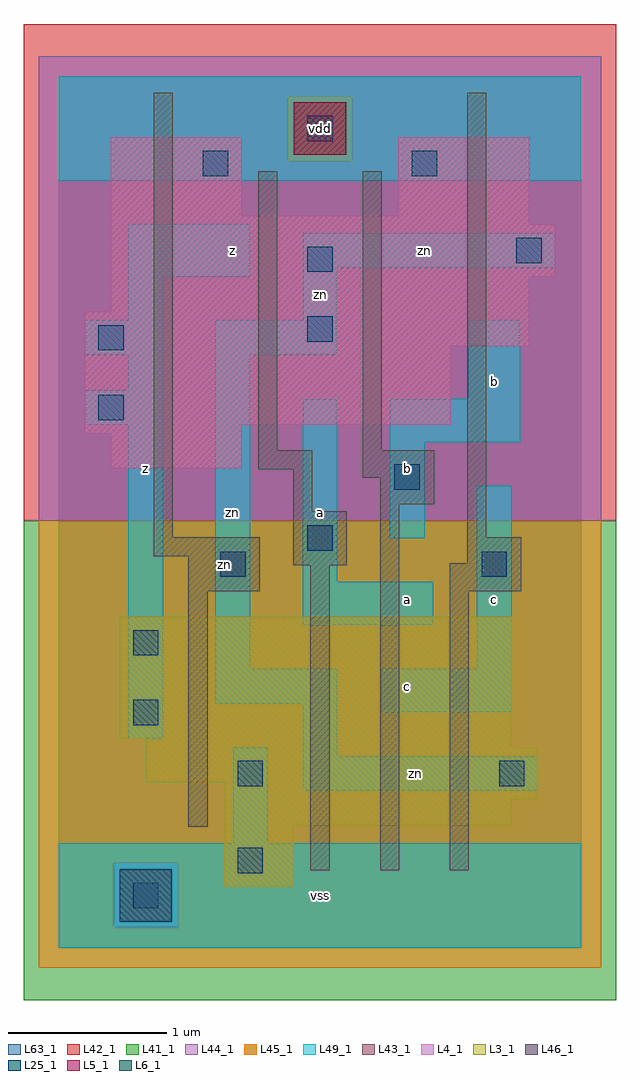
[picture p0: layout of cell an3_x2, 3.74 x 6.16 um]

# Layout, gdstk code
import gdstk
lib = gdstk.Library(unit=1e-6, precision=1e-09)
def R(c, l, rs):  # rectangles x0, y0, x1, y1
    for r in rs: c.add(gdstk.rectangle(r[:2], r[2:], *l))
L3_1 = (3, 1)
L4_1 = (4, 1)
L5_1 = (5, 1)
L6_1 = (6, 1)
L25_1 = (25, 1)
L41_1 = (41, 1)
L42_1 = (42, 1)
L43_1 = (43, 1)
L44_1 = (44, 1)
L45_1 = (45, 1)
L46_1 = (46, 1)
L49_1 = (49, 1)
L63_1 = (63, 1)

an3_x2 = lib.new_cell('an3_x2')
R(an3_x2, L3_1, [(1.045,0.385,1.485,0.77), (1.045,0.77,2.86,0.935), (1.045,0.935,3.025,1.045), (0.55,1.045,3.025,1.265), (0.55,1.265,2.86,1.32), (0.385,1.32,2.86,2.09)])
R(an3_x2, L4_1, [(0.33,3.025,1.155,3.245), (0.165,3.245,1.155,3.3), (0.165,3.3,2.475,3.795), (0.165,3.795,2.97,4.015), (0.33,4.015,2.97,4.235), (0.33,4.235,3.135,4.565), (0.33,4.565,2.97,4.62), (0.33,4.62,1.155,5.115), (2.145,4.62,2.97,5.115)])
R(an3_x2, L5_1, [(1.485,5.005,1.815,5.335)])
R(an3_x2, L6_1, [(0.385,0.165,0.715,0.495)])
R(an3_x2, L25_1, [(0.47,0.25,0.63,0.41), (1.13,0.47,1.29,0.63), (1.13,1.02,1.29,1.18), (2.78,1.02,2.94,1.18), (0.47,1.405,0.63,1.565), (0.47,1.845,0.63,2.005), (1.02,2.34,1.18,2.5), (2.67,2.34,2.83,2.5), (1.57,2.505,1.73,2.665), (2.12,2.89,2.28,3.05), (0.25,3.33,0.41,3.49), (0.25,3.77,0.41,3.93), (1.57,3.825,1.73,3.985), (1.57,4.265,1.73,4.425), (2.89,4.32,3.05,4.48), (0.91,4.87,1.07,5.03), (2.23,4.87,2.39,5.03), (1.57,5.09,1.73,5.25)])
R(an3_x2, L41_1, [(-0.22,-0.33,3.52,2.695)])
R(an3_x2, L42_1, [(-0.22,2.695,3.52,5.83)])
R(an3_x2, L43_1, [(0.385,0.165,0.715,0.495), (1.045,0.385,1.485,0.77), (1.045,0.77,2.86,0.935), (1.045,0.935,3.025,1.045), (0.55,1.045,3.025,1.265), (0.55,1.265,2.86,1.32), (0.385,1.32,2.86,2.09), (0.33,3.025,1.155,3.245), (0.165,3.245,1.155,3.3), (0.165,3.3,2.475,3.795), (0.165,3.795,2.97,4.015), (0.33,4.015,2.97,4.235), (0.33,4.235,3.135,4.565), (0.33,4.565,2.97,4.62), (0.33,4.62,1.155,5.115), (2.145,4.62,2.97,5.115), (1.485,5.005,1.815,5.335)])
R(an3_x2, L44_1, [(0.345,0.125,0.755,0.535), (-0.125,2.695,3.425,4.965), (-0.125,4.965,1.445,5.375), (1.855,4.965,3.425,5.375), (-0.125,5.375,3.425,5.625)])
R(an3_x2, L45_1, [(-0.125,-0.125,3.425,0.125), (-0.125,0.125,0.345,0.535), (0.755,0.125,3.425,0.535), (-0.125,0.535,3.425,2.695), (1.445,4.965,1.855,5.375)])
R(an3_x2, L46_1, [(1.59,0.49,1.71,2.415), (2.03,0.49,2.15,2.8), (2.47,0.49,2.59,2.25), (0.82,0.765,0.94,2.25), (0.82,2.25,1.27,2.47), (2.47,2.25,2.92,2.425), (1.48,2.415,1.82,2.755), (2.58,2.425,2.92,2.59), (0.6,2.47,1.27,2.59), (0.6,2.59,0.72,5.395), (2.58,2.59,2.7,5.395), (1.48,2.755,1.6,3.02), (2.03,2.8,2.37,2.965), (1.92,2.965,2.37,3.14), (1.26,3.02,1.6,3.14), (1.26,3.14,1.38,4.9), (1.92,3.14,2.04,4.9)])
R(an3_x2, L49_1, [(0,0,3.3,0.66), (1.1,0.66,1.32,1.265), (1.54,0.99,3.025,1.21), (1.54,1.21,1.76,1.54), (0.44,1.32,0.66,3.3), (2.035,1.485,2.86,1.76), (0.99,1.54,1.76,1.76), (0.99,1.76,1.21,3.74), (2.64,1.76,2.86,2.915), (1.54,2.035,2.365,2.31), (1.54,2.31,1.76,3.465), (2.09,2.585,2.31,3.19), (2.09,3.19,2.915,3.465), (0.165,3.3,0.66,3.52), (2.585,3.465,2.915,3.96), (0.44,3.52,0.66,3.74), (0.165,3.74,0.66,3.96), (0.99,3.74,1.76,3.96), (0.44,3.96,0.66,4.235), (1.54,3.96,1.76,4.29), (0.44,4.235,1.21,4.565), (1.54,4.29,3.135,4.51), (0,4.84,3.3,5.5)])
R(an3_x2, L63_1, [(0,0,3.3,5.5)])
an3_x2.add(gdstk.Label('zn', (1.045,2.42), layer=49, texttype=1))
an3_x2.add(gdstk.Label('z', (0.55,3.025), layer=49, texttype=1))
an3_x2.add(gdstk.Label('z', (0.55,3.025), layer=49, texttype=1))
an3_x2.add(gdstk.Label('zn', (1.1,2.75), layer=49, texttype=1))
an3_x2.add(gdstk.Label('z', (1.1,4.4), layer=49, texttype=1))
an3_x2.add(gdstk.Label('z', (1.1,4.4), layer=49, texttype=1))
an3_x2.add(gdstk.Label('vss', (1.65,0.33), layer=49, texttype=1))
an3_x2.add(gdstk.Label('vss', (1.65,0.33), layer=49, texttype=1))
an3_x2.add(gdstk.Label('a', (2.2,2.2), layer=49, texttype=1))
an3_x2.add(gdstk.Label('c', (2.2,1.65), layer=49, texttype=1))
an3_x2.add(gdstk.Label('a', (2.2,2.2), layer=49, texttype=1))
an3_x2.add(gdstk.Label('c', (2.2,1.65), layer=49, texttype=1))
an3_x2.add(gdstk.Label('a', (1.65,2.75), layer=49, texttype=1))
an3_x2.add(gdstk.Label('a', (1.65,2.75), layer=49, texttype=1))
an3_x2.add(gdstk.Label('b', (2.2,3.025), layer=49, texttype=1))
an3_x2.add(gdstk.Label('b', (2.2,3.025), layer=49, texttype=1))
an3_x2.add(gdstk.Label('zn', (1.65,4.125), layer=49, texttype=1))
an3_x2.add(gdstk.Label('vdd', (1.65,5.17), layer=49, texttype=1))
an3_x2.add(gdstk.Label('vdd', (1.65,5.17), layer=49, texttype=1))
an3_x2.add(gdstk.Label('zn', (2.255,1.1), layer=49, texttype=1))
an3_x2.add(gdstk.Label('c', (2.75,2.2), layer=49, texttype=1))
an3_x2.add(gdstk.Label('c', (2.75,2.2), layer=49, texttype=1))
an3_x2.add(gdstk.Label('b', (2.75,3.575), layer=49, texttype=1))
an3_x2.add(gdstk.Label('b', (2.75,3.575), layer=49, texttype=1))
an3_x2.add(gdstk.Label('zn', (2.31,4.4), layer=49, texttype=1))

lib.write_gds('an3_x2.gds')
